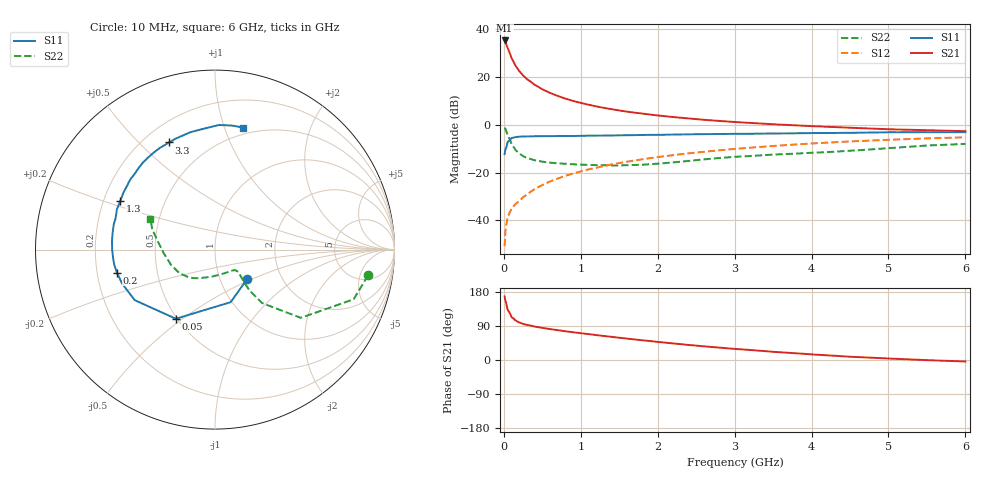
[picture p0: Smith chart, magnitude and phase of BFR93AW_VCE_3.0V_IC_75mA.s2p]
! Infineon Technologies  Discrete & RF Semiconductors
! BFR93AW
! VCE =  3.0 V,  IC =  75 mA
! Common Emitter S-Parameters:  Jan 2017
# GHz  S  MA  R  50
!  f  S11  S21  S12  S22
! GHz  MAG  ANG  MAG  ANG  MAG  ANG  MAG  ANG
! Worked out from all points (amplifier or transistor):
!   77 points, 10 MHz to 6 GHz, reference 50 ohm
!   highest |S21| = 35.2 dB at 10 MHz (marker M1)
!   |S21| within 3 dB of that: start of sweep to 47.81 MHz
!   unconditionally stable (mu >= 1): 211.4 MHz to 2.762 GHz
!   at 130 MHz: K = 0.80, MSG = 30.0 dB, |S12| = -33.9 dB
!   at 2.2 GHz: K = 1.04, MAG = 6.7 dB, |S12| = -12.7 dB
!   at 6 GHz: K = 0.96, MSG = 1.3 dB, |S12| = -5.3 dB
!   S11 on the Smith chart (normalised r, x): 10 MHz: 1.34, -0.47; 50 MHz: 0.49, -0.47; 200 MHz: 0.28, -0.11; 1.3 GHz: 0.27, +0.23; 3.3 GHz: 0.30, +0.62; 6 GHz: 0.44, +1.16
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0.01  0.2428 -42.5  57.56 167.7  0.0029 70.0  0.8649 -9.6
0.02  0.3056 -73.4  54.74 156.5  0.0059 71.8  0.8205 -19.7
0.05  0.4427 -119.5  39.91 132.0  0.0116 58.1  0.6105 -38.5
0.1  0.5286 -147.8  24.64 113.1  0.0173 58.7  0.3972 -48.6
0.15  0.5512 -160.0  17.29 104.4  0.0219 59.9  0.2994 -49.8
0.2  0.5615 -166.8  13.23 99.2  0.0254 64.9  0.2505 -48.6
0.25  0.5675 -171.5  10.72 95.3  0.0305 66.4  0.2214 -46.9
0.3  0.5696 -175.0  8.98 92.6  0.0347 68.6  0.2016 -45.7
0.4  0.5731 179.8  6.826 88.2  0.0451 71.4  0.1812 -44.3
0.5  0.5756 175.4  5.5 84.7  0.0547 72.8  0.169 -44.4
0.6  0.5772 171.9  4.625 81.6  0.0651 73.5  0.1613 -45.5
0.7  0.5792 168.8  3.989 78.8  0.0749 73.7  0.1559 -47.3
0.9  0.5803 163.1  3.139 73.2  0.0956 73.0  0.1491 -52.6
1.1  0.5907 157.8  2.616 68.3  0.1164 72.5  0.1448 -59.2
1.3  0.593 152.8  2.248 63.4  0.1369 71.1  0.1424 -67.0
1.6  0.6028 146.1  1.878 56.5  0.1687 68.8  0.1429 -80.2
2.1  0.6178 135.4  1.503 45.8  0.2207 63.9  0.1579 -103.6
3.1  0.6454 116.7  1.115 27.9  0.3212 52.9  0.2171 -136.6
3.3  0.6494 113.2  1.067 24.9  0.3402 50.6  0.2267 -141.9
4.1  0.6695 100.2  0.92 13.6  0.4136 41.3  0.2631 -164.0
5.1  0.6946 87.0  0.796 3.1  0.4905 29.5  0.3318 169.3
6  0.6978 77.0  0.732 -3.9  0.5456 19.3  0.3979 154.7
